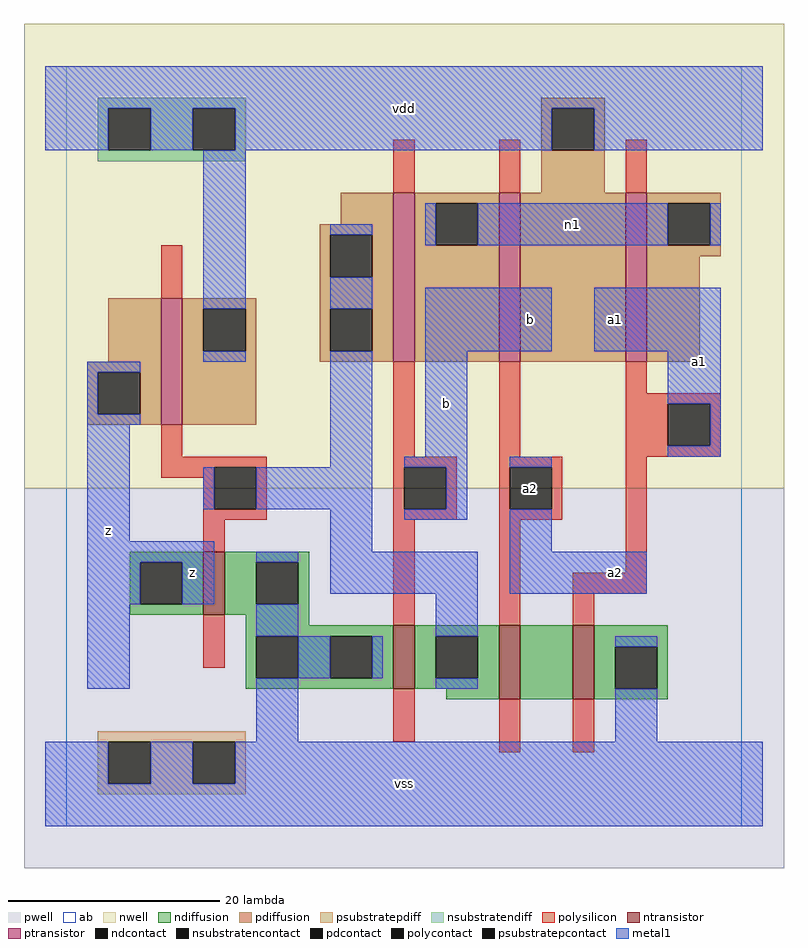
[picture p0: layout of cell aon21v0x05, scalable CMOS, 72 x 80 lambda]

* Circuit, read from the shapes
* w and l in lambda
.subckt aon21v0x05 a1 a2 b n1 vdd vss z
M1 vss n2 z vss nfet w=6 l=2
M2 n2 b vss vss nfet w=6 l=2
M3 n3 a2 n2 vss nfet w=7 l=2
M4 vss a1 n3 vss nfet w=7 l=2
M5 vdd n2 z vdd pfet w=12 l=2
M6 n1 b n2 vdd pfet w=16 l=2
M7 vdd a2 n1 vdd pfet w=16 l=2
M8 n1 a1 vdd vdd pfet w=16 l=2
.ends

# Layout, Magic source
magic
tech scmos
<< ab >>
rect 0 0 64 72
<< pwell >>
rect -4 -4 68 32
<< nwell >>
rect -4 32 68 76
<< polysilicon >>
rect 31 60 33 65
rect 41 60 43 65
rect 53 60 55 65
rect 9 50 11 55
rect 9 35 11 38
rect 31 35 33 44
rect 41 35 43 44
rect 53 41 55 44
rect 53 40 62 41
rect 53 36 57 40
rect 61 36 62 40
rect 53 35 62 36
rect 9 34 19 35
rect 9 33 14 34
rect 13 30 14 33
rect 18 30 19 34
rect 13 29 19 30
rect 31 34 37 35
rect 31 30 32 34
rect 36 30 37 34
rect 31 29 37 30
rect 41 34 47 35
rect 41 30 42 34
rect 46 30 47 34
rect 41 29 47 30
rect 13 26 15 29
rect 13 15 15 20
rect 31 19 33 29
rect 41 19 43 29
rect 53 24 55 35
rect 48 22 55 24
rect 48 19 50 22
rect 31 8 33 13
rect 41 7 43 12
rect 48 7 50 12
<< ndiffusion >>
rect 6 25 13 26
rect 6 21 7 25
rect 11 21 13 25
rect 6 20 13 21
rect 15 25 23 26
rect 15 21 18 25
rect 22 21 23 25
rect 15 20 23 21
rect 17 19 23 20
rect 17 18 31 19
rect 17 14 18 18
rect 22 14 25 18
rect 29 14 31 18
rect 17 13 31 14
rect 33 18 41 19
rect 33 14 35 18
rect 39 14 41 18
rect 33 13 41 14
rect 36 12 41 13
rect 43 12 48 19
rect 50 17 57 19
rect 50 13 52 17
rect 56 13 57 17
rect 50 12 57 13
<< pdiffusion >>
rect 45 68 51 69
rect 45 64 46 68
rect 50 64 51 68
rect 45 60 51 64
rect 26 57 31 60
rect 24 56 31 57
rect 24 52 25 56
rect 29 52 31 56
rect 4 44 9 50
rect 2 43 9 44
rect 2 39 3 43
rect 7 39 9 43
rect 2 38 9 39
rect 11 49 18 50
rect 11 45 13 49
rect 17 45 18 49
rect 11 38 18 45
rect 24 49 31 52
rect 24 45 25 49
rect 29 45 31 49
rect 24 44 31 45
rect 33 59 41 60
rect 33 55 35 59
rect 39 55 41 59
rect 33 44 41 55
rect 43 44 53 60
rect 55 59 62 60
rect 55 55 57 59
rect 61 55 62 59
rect 55 54 62 55
rect 55 44 60 54
<< metal1 >>
rect -2 68 66 72
rect -2 64 4 68
rect 8 64 12 68
rect 16 64 46 68
rect 50 64 66 68
rect 13 49 17 64
rect 13 44 17 45
rect 25 56 29 57
rect 34 55 35 59
rect 39 55 57 59
rect 61 55 62 59
rect 25 49 29 52
rect 2 43 7 44
rect 2 39 3 43
rect 2 38 7 39
rect 2 27 6 38
rect 25 34 29 45
rect 34 45 46 51
rect 50 45 62 51
rect 34 35 38 45
rect 57 40 62 45
rect 61 36 62 40
rect 57 35 62 36
rect 13 30 14 34
rect 18 30 29 34
rect 2 25 14 27
rect 25 26 29 30
rect 32 34 38 35
rect 36 30 38 34
rect 32 29 38 30
rect 42 34 46 35
rect 42 26 46 30
rect 2 21 7 25
rect 11 21 14 25
rect 18 25 22 26
rect 25 22 39 26
rect 42 22 55 26
rect 2 13 6 21
rect 18 18 22 21
rect 35 18 39 22
rect 22 14 25 18
rect 29 14 30 18
rect 18 8 22 14
rect 35 13 39 14
rect 52 17 56 18
rect 52 8 56 13
rect -2 4 4 8
rect 8 4 12 8
rect 16 4 66 8
rect -2 0 66 4
<< ntransistor >>
rect 13 20 15 26
rect 31 13 33 19
rect 41 12 43 19
rect 48 12 50 19
<< ptransistor >>
rect 9 38 11 50
rect 31 44 33 60
rect 41 44 43 60
rect 53 44 55 60
<< polycontact >>
rect 57 36 61 40
rect 14 30 18 34
rect 32 30 36 34
rect 42 30 46 34
<< ndcontact >>
rect 7 21 11 25
rect 18 21 22 25
rect 18 14 22 18
rect 25 14 29 18
rect 35 14 39 18
rect 52 13 56 17
<< pdcontact >>
rect 46 64 50 68
rect 25 52 29 56
rect 3 39 7 43
rect 13 45 17 49
rect 25 45 29 49
rect 35 55 39 59
rect 57 55 61 59
<< psubstratepcontact >>
rect 4 4 8 8
rect 12 4 16 8
<< nsubstratencontact >>
rect 4 64 8 68
rect 12 64 16 68
<< psubstratepdiff >>
rect 3 8 17 9
rect 3 4 4 8
rect 8 4 12 8
rect 16 4 17 8
rect 3 3 17 4
<< nsubstratendiff >>
rect 3 68 17 69
rect 3 64 4 68
rect 8 64 12 68
rect 16 64 17 68
rect 3 63 17 64
<< labels >>
rlabel metal1 4 28 4 28 6 z
rlabel metal1 12 24 12 24 6 z
rlabel metal1 32 4 32 4 6 vss
rlabel polycontact 44 32 44 32 6 a2
rlabel metal1 36 40 36 40 6 b
rlabel metal1 44 48 44 48 6 b
rlabel metal1 32 68 32 68 6 vdd
rlabel metal1 52 24 52 24 6 a2
rlabel metal1 52 48 52 48 6 a1
rlabel metal1 60 44 60 44 6 a1
rlabel metal1 48 57 48 57 6 n1
<< end >>
